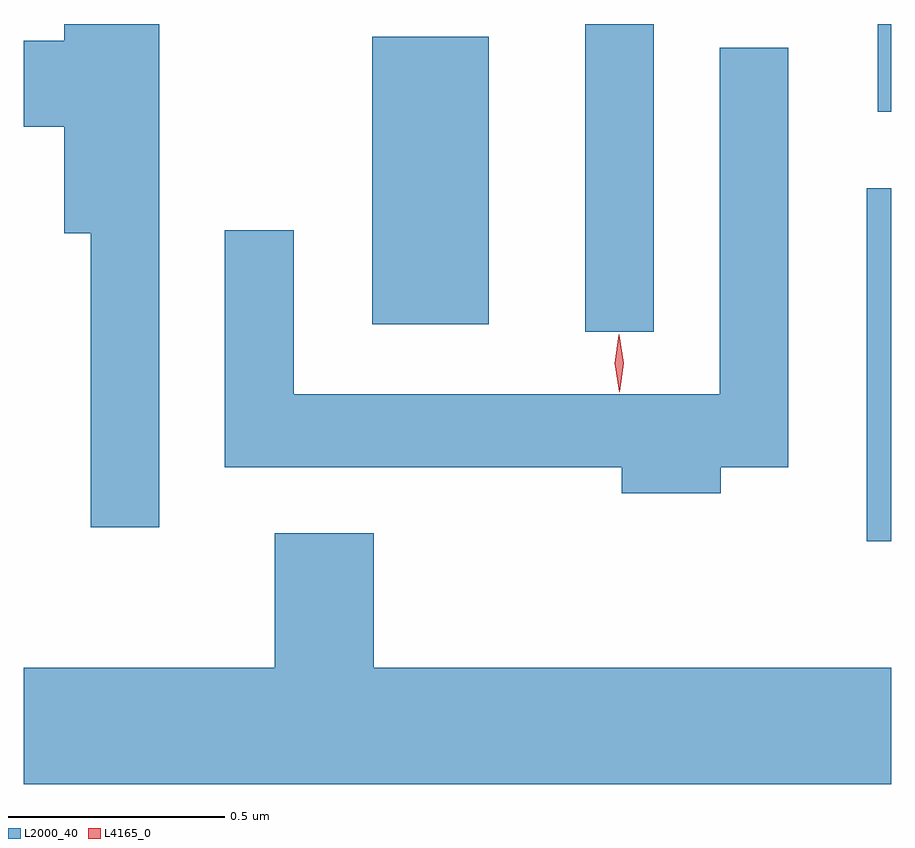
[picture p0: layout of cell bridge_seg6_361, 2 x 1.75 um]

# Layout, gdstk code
import gdstk
lib = gdstk.Library(unit=1e-6, precision=1e-09)
def R(c, l, rs):  # rectangles x0, y0, x1, y1
    for r in rs: c.add(gdstk.rectangle(r[:2], r[2:], *l))
def P(c, l, *ps):  # polygons
    for p in ps: c.add(gdstk.Polygon(p, *l))
L2000_40 = (2000, 40)
L4165_0 = (4165, 0)

bridge_seg6_361 = lib.new_cell('bridge_seg6_361')
R(bridge_seg6_361, L2000_40, [(1299.026,1539.496,1299.082,1540.309), (1298.376,1539.978,1298.534,1540.688), (1297.886,1539.996,1298.154,1540.659), (1299.051,1540.486,1299.082,1540.688)])
P(bridge_seg6_361, L2000_40, [(1297.394,1540.688),(1297.176,1540.688),(1297.176,1540.649),(1297.082,1540.649),(1297.082,1540.451),(1297.176,1540.451),(1297.176,1540.206),(1297.236,1540.206),(1297.236,1539.528),(1297.394,1539.528)],
  [(1298.689,1539.666),(1298.844,1539.666),(1298.844,1540.633),(1298.686,1540.633),(1298.686,1539.834),(1297.704,1539.834),(1297.704,1540.213),(1297.546,1540.213),(1297.546,1539.666),(1298.461,1539.666),(1298.461,1539.606),(1298.689,1539.606)],
  [(1299.082,1539.204),(1297.889,1539.204),(1297.889,1539.514),(1297.661,1539.514),(1297.661,1539.204),(1297.082,1539.204),(1297.082,1538.936),(1299.082,1538.936)])
P(bridge_seg6_361, L4165_0, [(1298.455,1539.839),(1298.455,1539.84),(1298.445,1539.906),(1298.454,1539.972),(1298.455,1539.973),(1298.455,1539.972),(1298.465,1539.906),(1298.456,1539.84)])

lib.write_gds('bridge_seg6_361.gds')
